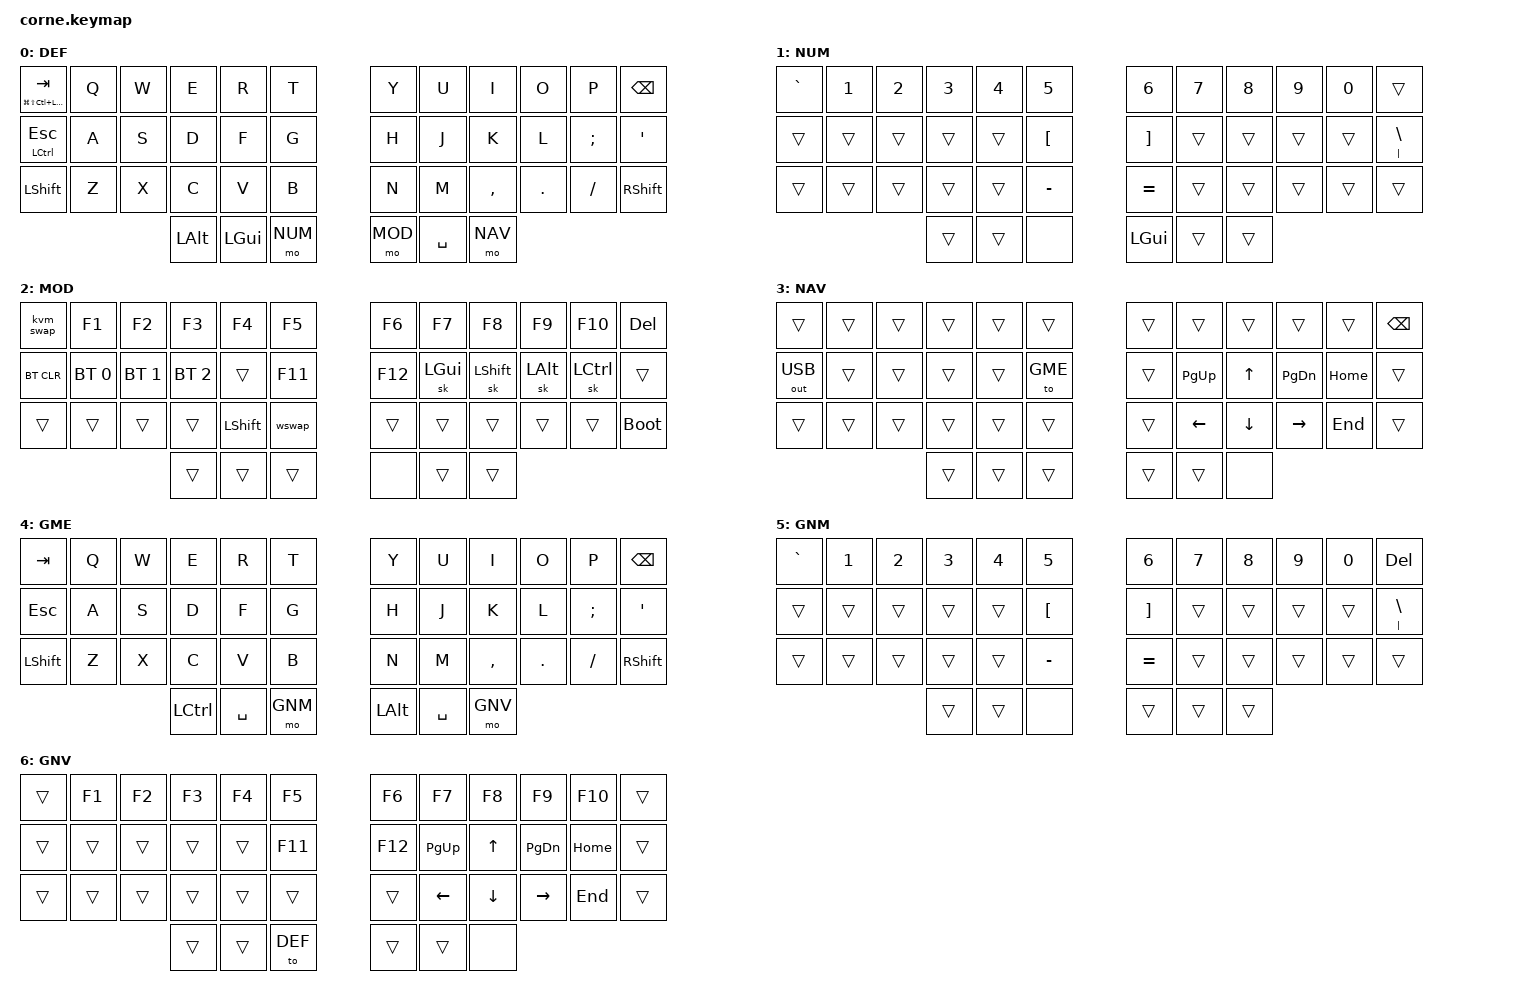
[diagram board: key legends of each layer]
/*
 * Copyright (c) 2020 The ZMK Contributors
 *
 * SPDX-License-Identifier: MIT
 */

#include <behaviors.dtsi>
#include <dt-bindings/zmk/keys.h>
#include <dt-bindings/zmk/bt.h>
#include <dt-bindings/zmk/outputs.h>
#include "zmk-helpers/key-labels/42.h"                                                  // Source key-labels.

#define KEYS_L LT5 LT4 LT3 LT2 LT1 LT0 LM5 LM4 LM3 LM2 LM1 LM0 LB5 LB4 LB3 LB2 LB1 LB0
#define KEYS_R RT0 RT1 RT2 RT3 RT4 RT5 RM0 RM1 RM2 RM3 RM4 RM5 RB0 RB1 RB2 RB3 RB4 RB5  // Right-hand keys.
#define THUMBS LH2 LH1 LH0 RH0 RH1 RH2                                                  // Thumb keys.

#define SWP_POS1 LB0
#define SWP_POS2 LB1

#define DEF 0
#define NUM 1
#define MOD 2
#define NAV 3
#define GME 4
#define GNM 5
#define GNV 6


/ {
    macros {
        m0: m0 {
            compatible = "zmk,behavior-macro";
            #binding-cells = <0>;
            bindings = <&kp R &kp J &kp O &kp R &kp G &kp E &kp N &kp S &kp O &kp N &kp AT &kp G &kp M &kp A &kp I &kp L &kp DOT &kp C &kp O &kp M>;
            label = "M0";
        };

        m1: m1 {
            compatible = "zmk,behavior-macro";
            #binding-cells = <0>;
            bindings = <&kp R &kp J &kp O &kp R &kp G &kp E &kp N &kp S &kp O &kp N &kp AT &kp N &kp E &kp T &kp S &kp K &kp O &kp P &kp E &kp DOT &kp C &kp O &kp M>;
            label = "M1";
        };

        kvm_swap: kvm_swap {
            compatible = "zmk,behavior-macro";
            #binding-cells = <0>;
            wait-ms = <50>;
            tap-ms = <50>;
            bindings
                = <&macro_tap &kp LCTRL>
                , <&macro_tap &kp LCTRL>
                , <&macro_tap &kp N0>
                ;
            label = "KVM_SWAP";
        };

    };

    behaviors {
        hml: hml {
            compatible = "zmk,behavior-hold-tap";
            label = "HML";
            bindings = <&kp>, <&kp>;

            #binding-cells = <2>;
            tapping-term-ms = <330>;
            quick-tap-ms = <190>;
            require-prior-idle-ms = <175>;
            flavor = "balanced";
            hold-trigger-on-release;
            hold-trigger-key-positions = <KEYS_R THUMBS>;
        };

        hmr: hmr {
            compatible = "zmk,behavior-hold-tap";
            label = "HMR";
            bindings = <&kp>, <&kp>;

            #binding-cells = <2>;
            tapping-term-ms = <330>;
            quick-tap-ms = <190>;
            require-prior-idle-ms = <175>;
            flavor = "balanced";
            hold-trigger-on-release;
            hold-trigger-key-positions = <KEYS_L THUMBS>;
        };

        t_hyp: t_hyp {
            compatible = "zmk,behavior-hold-tap";
            label = "TAB_HYPER";
            bindings = <&kp>, <&kp>;

            #binding-cells = <2>;
            tapping-term-ms = <300>;
            quick-tap-ms = <190>;
            flavor = "balanced";
            hold-trigger-key-positions = <LT5>;
        };

        // Swapper for smart alt+tab
        wswap: wswap {
            compatible = "zmk,behavior-smart-toggle";
            #binding-cells = <0>;
            bindings = <&kp LGUI>, <&kp TAB>;
            ignored-key-positions = <SWP_POS1 SWP_POS2>;
        };
    };

    combos {
        compatible = "zmk,combos";

        enter {
            bindings = <&kp ENTER>;
            key-positions = <RM0 RM1>;
        };
    };

    keymap {
        compatible = "zmk,keymap";

        DEF {
            label = "DEF";
            bindings = <
&t_hyp LG(LS(LC(LALT))) TAB  &kp Q  &kp W  &kp E     &kp R     &kp T    /* */  &kp Y    &kp U      &kp I      &kp O    &kp P     &kp BSPC
&mt LCTRL ESC                &kp A  &kp S  &kp D     &kp F     &kp G    /* */  &kp H    &kp J      &kp K      &kp L    &kp SEMI  &kp SQT
&kp LSHFT                    &kp Z  &kp X  &kp C     &kp V     &kp B    /* */  &kp N    &kp M      &kp COMMA  &kp DOT  &kp FSLH  &kp RSHFT
                                           &kp LALT  &kp LGUI  &mo NUM  /* */  &mo MOD  &kp SPACE  &mo NAV
            >;
        };

        NUM {
            label = "NUM";
            bindings = <
&kp GRAVE  &kp N1  &kp N2  &kp N3  &kp N4  &kp N5     /* */  &kp N6     &kp N7  &kp N8  &kp N9  &kp N0  &trans
&trans     &trans  &trans  &trans  &trans  &kp LBKT   /* */  &kp RBKT   &trans  &trans  &trans  &trans  &mt PIPE BSLH
&trans     &trans  &trans  &trans  &trans  &kp MINUS  /* */  &kp EQUAL  &trans  &trans  &trans  &trans  &trans
                           &trans  &trans  &none      /* */  &kp LGUI   &trans  &trans
            >;
        };

        MOD {
            label = "MOD";
            bindings = <
&kvm_swap   &kp F1        &kp F2        &kp F3        &kp F4     &kp F5   /* */  &kp F6   &kp F7    &kp F8     &kp F9    &kp F10    &kp DEL
&bt BT_CLR  &bt BT_SEL 0  &bt BT_SEL 1  &bt BT_SEL 2  &trans     &kp F11  /* */  &kp F12  &sk LGUI  &sk LSHFT  &sk LALT  &sk LCTRL  &trans
&trans      &trans        &trans        &trans        &kp LSHFT  &wswap   /* */  &trans   &trans    &trans     &trans    &trans     &bootloader
                                        &trans        &trans     &trans   /* */  &none    &trans    &trans
            >;
        };

        NAV {
            label = "NAV";
            bindings = <
&trans        &trans  &trans  &trans  &trans  &trans   /* */  &trans  &trans     &trans    &trans     &trans    &kp BSPC
&out OUT_USB  &trans  &trans  &trans  &trans  &to GME  /* */  &trans  &kp PG_UP  &kp UP    &kp PG_DN  &kp HOME  &trans
&trans        &trans  &trans  &trans  &trans  &trans   /* */  &trans  &kp LEFT   &kp DOWN  &kp RIGHT  &kp END   &trans
                              &trans  &trans  &trans   /* */  &trans  &trans     &none
            >;
        };

        GAME {
            label = "GME";
            bindings = <
&kp TAB    &kp Q  &kp W  &kp E      &kp R       &kp T    /* */  &kp Y     &kp U      &kp I        &kp O    &kp P     &kp BSPC
&kp ESC    &kp A  &kp S  &kp D      &kp F       &kp G    /* */  &kp H     &kp J      &kp K        &kp L    &kp SEMI  &kp SQT
&kp LSHFT  &kp Z  &kp X  &kp C      &kp V       &kp B    /* */  &kp N     &kp M      &kp COMMA    &kp DOT  &kp FSLH  &kp RSHFT
                         &kp LCTRL  &kp SPACE   &mo GNM  /* */  &kp LALT  &kp SPACE  &mo GNV
            >;
        };

        GNM {
            label = "GNM";
            bindings = <
&kp GRAVE  &kp N1  &kp N2  &kp N3  &kp N4  &kp N5     /* */  &kp N6     &kp N7  &kp N8  &kp N9  &kp N0  &kp DEL
&trans     &trans  &trans  &trans  &trans  &kp LBKT   /* */  &kp RBKT   &trans  &trans  &trans  &trans  &mt PIPE BSLH
&trans     &trans  &trans  &trans  &trans  &kp MINUS  /* */  &kp EQUAL  &trans  &trans  &trans  &trans  &trans
                           &trans  &trans  &none      /* */  &trans     &trans  &trans
            >;
        };

        GNV {
            label = "GNV";
            bindings = <
&trans  &kp F1  &kp F2  &kp F3  &kp F4  &kp F5   /* */  &kp F6   &kp F7     &kp F8    &kp F9     &kp F10   &trans
&trans  &trans  &trans  &trans  &trans  &kp F11  /* */  &kp F12  &kp PG_UP  &kp UP    &kp PG_DN  &kp HOME  &trans
&trans  &trans  &trans  &trans  &trans  &trans   /* */  &trans   &kp LEFT   &kp DOWN  &kp RIGHT  &kp END   &trans
                        &trans  &trans  &to DEF  /* */  &trans   &trans     &none
            >;
        };
    };
};
